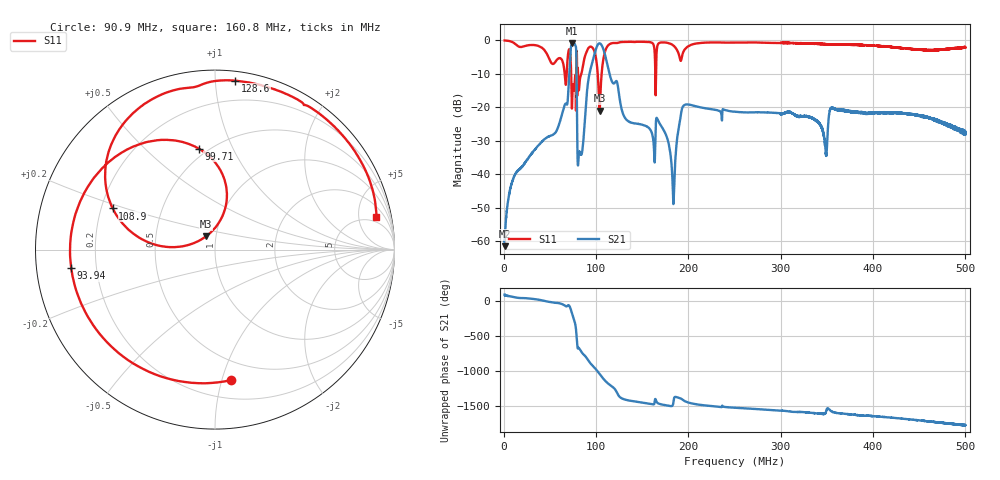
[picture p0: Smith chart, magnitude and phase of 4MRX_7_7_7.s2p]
! NanoVNA-App
! Date: 2026-08-19 14:25:41
! Start: 1MHz Stop: 500MHz Points: 6401
! S-Parameter data: F S11 S21 S12 S22
# Hz S RI R 50
!  Frequency  S11_Real  S11_Imag  S21_Real  S21_Imag  S12_Real  S12_Imag  S22_Real  S22_Imag
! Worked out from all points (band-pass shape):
!   6401 points, 1 MHz to 500 MHz, reference 50 ohm
!   highest |S21| = -0.77 dB at 74.13 MHz (marker M1); lowest = -61.5 dB at 1 MHz (marker M2)
!   |S21| within 3 dB of the highest: 72.3 MHz to 78.56 MHz (6.259 MHz wide, 8.3 % of centre); 98.65 MHz to 109.2 MHz (10.58 MHz wide, 10.2 % of centre)
!   lowest |S11| = -21.0 dB at 103.8 MHz (marker M3), VSWR 1.20, Z = 44.8 + j6.67 ohm
!   |S11| at or under -10 dB: 73.06 MHz to 78.54 MHz (5.477 MHz wide, 7.23 % of centre); 80.58 MHz to 84.04 MHz (3.466 MHz wide, 4.21 % of centre); 101.8 MHz to 106.1 MHz (4.227 MHz wide, 4.07 % of centre)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
!   S12 and S22 are empty: the file has one direction only
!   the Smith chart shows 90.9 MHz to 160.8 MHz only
!   S11 on the Smith chart (normalised r, x): 90.9 MHz: 0.34, -1.07; 93.94 MHz: 0.11, -0.06; 99.71 MHz: 0.45, +0.75; 108.9 MHz: 0.25, +0.18; 128.6 MHz: 0.06, +1.12; 160.8 MHz: 3.61, +8.39
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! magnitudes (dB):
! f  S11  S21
! 1 MHz  0.0  -61.5
! 11.99 MHz  -0.9  -40.2
! 59.48 MHz  -5.3  -25.5
! 74.13 MHz  -18.5  -0.8
! 76.86 MHz  -13.1  -1.0
! 81.85 MHz  -13.7  -33.2
! 84.19 MHz  -9.8  -34.0
! 90.9 MHz  -2.7  -13.5
! 93.94 MHz  -1.9  -8.7
! 99.71 MHz  -4.9  -2.8
! 103.8 MHz  -21.0  -0.9
! 108.9 MHz  -4.2  -3.5
! 128.6 MHz  -0.5  -21.4
! 160.8 MHz  -0.7  -28.0
! 167.4 MHz  -1.0  -24.0
! 183.5 MHz  -1.5  -47.2
! 195.5 MHz  -2.9  -19.3
! 250.5 MHz  -0.6  -21.3
! 333.7 MHz  -1.0  -23.1
! 348.4 MHz  -1.1  -32.2
! 416.9 MHz  -1.9  -21.6
! 500 MHz  -2.1  -28.2
